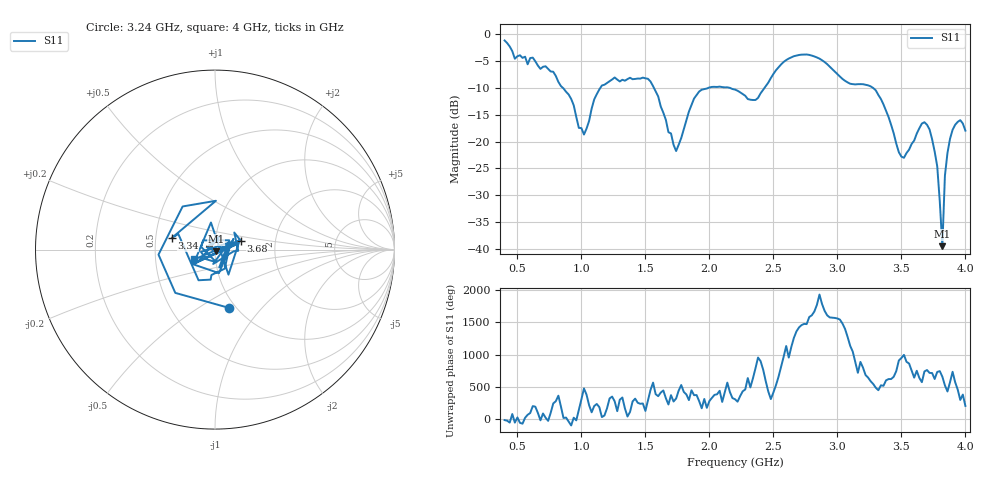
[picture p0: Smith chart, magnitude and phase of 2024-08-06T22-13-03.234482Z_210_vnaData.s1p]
!Created with skrf (http://scikit-rf.org).
# Hz S RI R 50.0
!freq ReS11 ImS11
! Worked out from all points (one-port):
!   181 points, 400 MHz to 4 GHz, reference 50 ohm
!   lowest |S11| = -39.5 dB at 3.82 GHz (marker M1), VSWR 1.02, Z = 50.5 - j0.939 ohm
!   |S11| at or under -10 dB: 856.2 MHz to 1.148 GHz (291.4 MHz wide, 29.1 % of centre); 1.567 GHz to 1.99 GHz (423 MHz wide, 23.8 % of centre); 3.28 GHz to end of sweep (the widest 3 of 4)
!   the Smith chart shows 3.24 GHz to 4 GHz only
!   S11 on the Smith chart (normalised r, x): 3.24 GHz: 0.93, -0.68; 3.34 GHz: 0.61, +0.08; 3.68 GHz: 1.33, +0.14; 4 GHz: 0.79, -0.09
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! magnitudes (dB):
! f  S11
! 400 MHz  -1.1
! 480 MHz  -4.5
! 620 MHz  -4.3
! 860 MHz  -10.1
! 1.02 GHz  -18.7
! 1.16 GHz  -9.5
! 1.3 GHz  -8.8
! 1.54 GHz  -8.8
! 1.74 GHz  -21.8
! 1.76 GHz  -20.6
! 1.92 GHz  -10.7
! 2.2 GHz  -10.3
! 2.36 GHz  -12.2
! 2.66 GHz  -4.1
! 2.86 GHz  -4.5
! 3.1 GHz  -9.2
! 3.24 GHz  -9.5
! 3.34 GHz  -12.1
! 3.48 GHz  -22.0
! 3.56 GHz  -21.5
! 3.68 GHz  -16.4
! 3.72 GHz  -17.7
! 3.78 GHz  -24.6
! 3.82 GHz  -39.5
! 3.84 GHz  -26.4
! 3.88 GHz  -19.5
! 3.96 GHz  -16.0
! 4 GHz  -18.0
